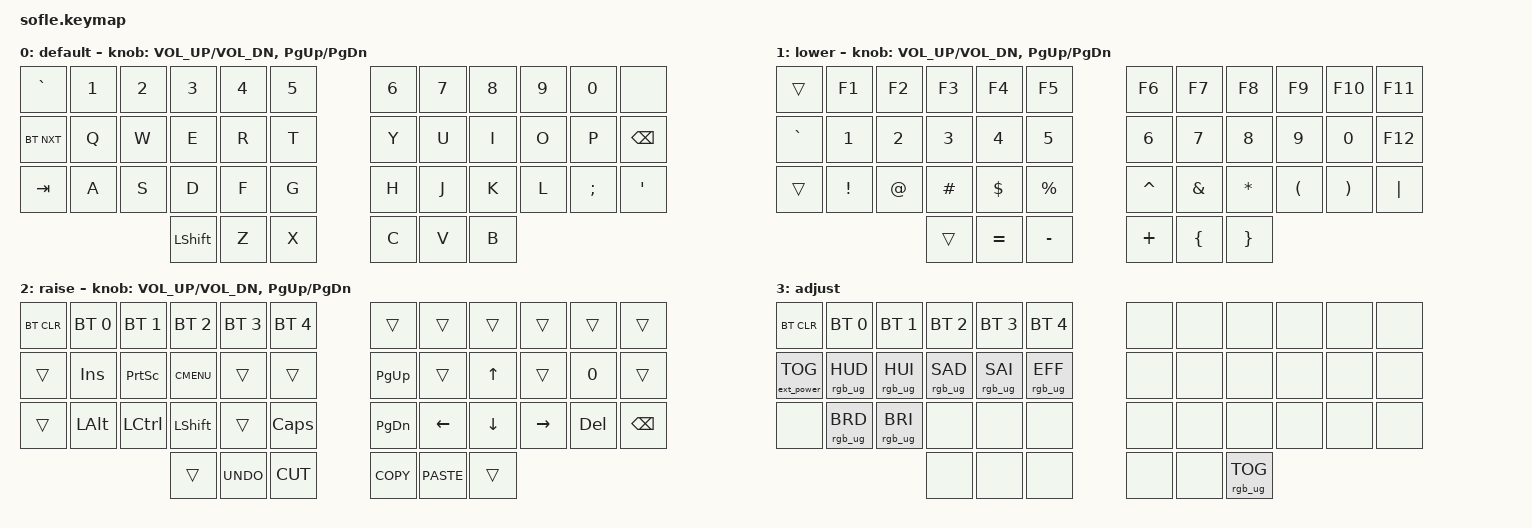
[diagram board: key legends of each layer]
/*
 * Copyright (c) 2020 The ZMK Contributors
 * SPDX-License-Identifier: MIT
 */

#include <behaviors.dtsi>
#include <dt-bindings/zmk/bt.h>
#include <dt-bindings/zmk/ext_power.h>
#include <dt-bindings/zmk/keys.h>
#include <dt-bindings/zmk/rgb.h>

/ {
    // Layer indices
    #define BASE 0
    #define LOWER 1
    #define RAISE 2
    #define ADJUST 3

    conditional_layers {
        compatible = "zmk,conditional-layers";

        adjust_layer {
            if-layers = <LOWER RAISE>;
            then-layer = <ADJUST>;
        };
    };

    keymap {
        compatible = "zmk,keymap";

        // Layer 0 (BASE) – total 4 rows: 3 rows × 12 keys + 1 row × 6 keys
        default_layer {
            display-name = "default";

            bindings = <
                // Row 0 (12 keys)
                &kp GRAVE   &kp N1    &kp N2    &kp N3    &kp N4    &kp N5    &kp N6    &kp N7    &kp N8    &kp N9    &kp N0    &none

                // Row 1 (12 keys)
                &bt BT_NXT  &kp Q    &kp W     &kp E     &kp R     &kp T     &kp Y     &kp U     &kp I     &kp O     &kp P     &kp BSPC

                // Row 2 (12 keys)
                &kp TAB     &kp A    &kp S     &kp D     &kp F     &kp G     &kp H     &kp J     &kp K     &kp L     &kp SEMI  &kp SQT

                // Row 3 (6 keys)
                &kp LSHFT   &kp Z    &kp X     &kp C     &kp V     &kp B
            >;

            sensor-bindings = <
                &inc_dec_kp C_VOL_UP C_VOL_DN
                &inc_dec_kp PG_UP PG_DN
            >;
        };

        // Layer 1 (LOWER)
        lower_layer {
            display-name = "lower";

            bindings = <
                // Row 0 (12)
                &trans &kp F1    &kp F2    &kp F3    &kp F4   &kp F5   &kp F6   &kp F7   &kp F8   &kp F9   &kp F10  &kp F11

                // Row 1 (12)
                &kp GRAVE &kp N1  &kp N2    &kp N3    &kp N4   &kp N5   &kp N6   &kp N7   &kp N8   &kp N9   &kp N0   &kp F12

                // Row 2 (12)
                &trans    &kp EXCL &kp AT   &kp HASH  &kp DLLR &kp PRCNT &kp CARET &kp AMPS &kp ASTRK &kp LPAR &kp RPAR &kp PIPE

                // Row 3 (6)
                &trans &kp EQUAL &kp MINUS &kp PLUS &kp LBRC &kp RBRC
            >;

            sensor-bindings = <
                &inc_dec_kp C_VOL_UP C_VOL_DN
                &inc_dec_kp PG_UP PG_DN
            >;
        };

        // Layer 2 (RAISE)
        raise_layer {
            display-name = "raise";

            bindings = <
                // Row 0 (12)
                &bt BT_CLR &bt BT_SEL 0 &bt BT_SEL 1 &bt BT_SEL 2 &bt BT_SEL 3 &bt BT_SEL 4 &trans &trans &trans &trans &trans &trans

                // Row 1 (12)
                &trans &kp INS &kp PSCRN &kp K_CMENU &trans &trans &kp PG_UP &trans &kp UP &trans &kp N0 &trans

                // Row 2 (12)
                &trans &kp LALT &kp LCTRL &kp LSHFT &trans &kp CLCK &kp PG_DN &kp LEFT &kp DOWN &kp RIGHT &kp DEL &kp BSPC

                // Row 3 (6)
                &trans &kp K_UNDO &kp K_CUT &kp K_COPY &kp K_PASTE &trans
            >;

            sensor-bindings = <
                &inc_dec_kp C_VOL_UP C_VOL_DN
                &inc_dec_kp PG_UP PG_DN
            >;
        };

        // Layer 3 (ADJUST)
        adjust_layer {
            display-name = "adjust";

            bindings = <
                // Row 0 (12)
                &bt BT_CLR &bt BT_SEL 0 &bt BT_SEL 1 &bt BT_SEL 2 &bt BT_SEL 3 &bt BT_SEL 4 &none &none &none &none &none &none

                // Row 1 (12)
                &ext_power EP_TOG &rgb_ug RGB_HUD &rgb_ug RGB_HUI &rgb_ug RGB_SAD &rgb_ug RGB_SAI &rgb_ug RGB_EFF &none &none &none &none &none &none

                // Row 2 (12)
                &none &rgb_ug RGB_BRD &rgb_ug RGB_BRI &none &none &none &none &none &none &none &none &none

                // Row 3 (6)
                &none &none &none &none &none &rgb_ug RGB_TOG
            >;
        };
    };
};
